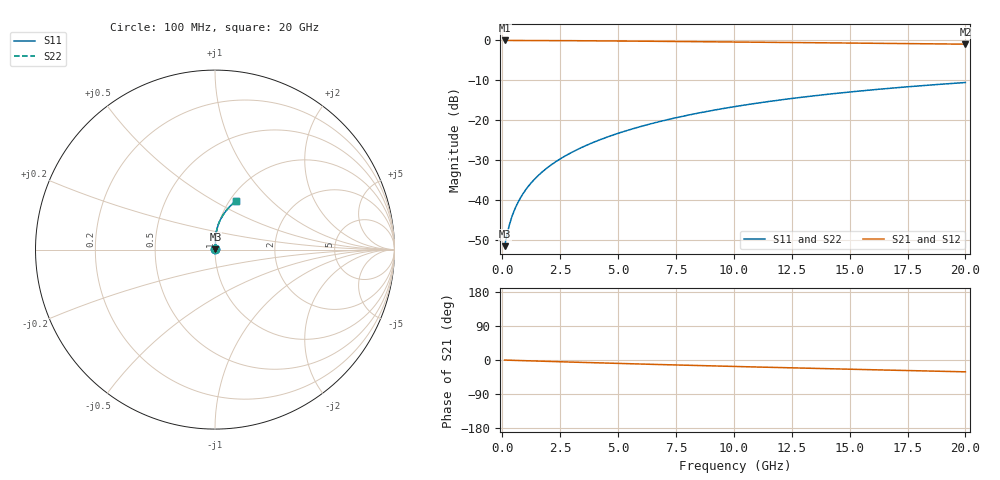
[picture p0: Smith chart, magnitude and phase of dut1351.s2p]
! Touchstone file exported from HFSS 2024.1.0
!  File:  C:/UserFiles/LocalFiles/RDL_TSV_Batchsim/temp_RDL_top_1351_1780366219.aedt
!  Generated:  10:12:42 AM Jun  2, 2026
!  Design:  RDL_top
!  Project:  temp_RDL_top_1351_1780366219
!  Setup:  Setup1
!  Solution:  Sweep
! Variables:
!  dtsv = 10.80580581um
!  hbump = 3um
!  htsv = 80.25um
!  ldown = 100um
!  lrdl = 419.21um
!  p = 40
!  p1 = 53.16um
!  rhole = 1um
!  t = 450um
!  tdown = 3.915915916um
!  trdl = 3.05um
!  wdown = 15.38538539um
!  wrdl = 25.09um
# GHz S MA R 50.000000
! Terminal data exported
! Port[1] = Box2_T1
! Port[2] = Box2_T2
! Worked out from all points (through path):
!   200 points, 100 MHz to 20 GHz, reference 50 ohm
!   highest |S21| = -0.02 dB at 100 MHz (marker M1); lowest = -0.9 dB at 20 GHz (marker M2)
!   group delay of S21, straight-line fit = 4.29 ps
!   lowest |S11| = -51.6 dB at 100 MHz (marker M3), VSWR 1.01, Z = 50.2 + j0.144 ohm
!   |S11| at or under -10 dB: start of sweep to end of sweep
!   |S22| runs from -51.6 to -10.6 dB; largest |S21 - S12| = 3e-15
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0.1  0.002632 33.1  0.9978 -0.2  0.9978 -0.2  0.002632 33.1
! Gamma 0 0 0 0
! Port Impedance 50 0 50 0
0.2  0.003645 50.8  0.9977 -0.4  0.9977 -0.4  0.003645 50.8
0.3  0.004802 59.8  0.9975 -0.6  0.9975 -0.6  0.004802 59.8
0.4  0.005986 65.3  0.9974 -0.8  0.9974 -0.8  0.005986 65.3
0.5  0.007178 69.0  0.9972 -1.0  0.9972 -1.0  0.007178 69.0
0.6  0.008376 71.8  0.9971 -1.1  0.9971 -1.1  0.008376 71.8
0.8  0.0108 75.7  0.9968 -1.5  0.9968 -1.5  0.0108 75.7
1.1  0.01451 79.4  0.9963 -2.1  0.9963 -2.1  0.01451 79.4
1.3  0.01702 81.1  0.996 -2.4  0.996 -2.4  0.01702 81.1
1.6  0.02085 82.8  0.9954 -3.0  0.9954 -3.0  0.02085 82.9
2.1  0.02735 84.8  0.9941 -3.9  0.9941 -3.9  0.02735 84.8
2.7  0.03538 86.1  0.9923 -5.0  0.9923 -5.0  0.03538 86.1
3.5  0.04646 87.1  0.9893 -6.4  0.9893 -6.4  0.04646 87.1
4.2  0.0565 87.4  0.9862 -7.6  0.9862 -7.6  0.0565 87.4
5  0.06834 87.3  0.9824 -9.0  0.9824 -9.0  0.06834 87.3
6.8  0.09612 86.0  0.9728 -12.0  0.9728 -12.0  0.09612 86.0
8.4  0.1216 84.1  0.9638 -14.5  0.9638 -14.5  0.1216 84.2
10.1  0.1489 81.7  0.954 -17.2  0.954 -17.2  0.1489 81.7
11.7  0.1744 79.3  0.9448 -19.6  0.9448 -19.6  0.1744 79.3
13.4  0.201 76.6  0.9351 -22.0  0.9351 -22.0  0.201 76.6
16.7  0.2504 71.4  0.916 -26.7  0.916 -26.7  0.2504 71.4
20  0.2963 66.3  0.8968 -31.2  0.8968 -31.2  0.2963 66.3
